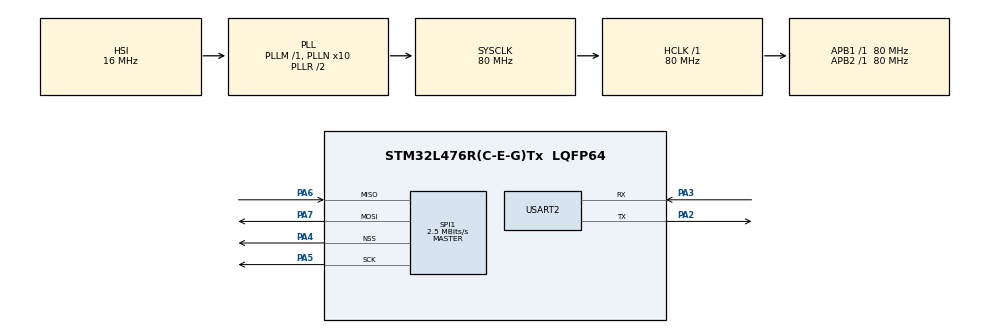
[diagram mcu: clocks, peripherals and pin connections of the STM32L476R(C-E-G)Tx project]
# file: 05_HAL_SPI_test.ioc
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Mcu.Family=STM32L4
Mcu.Name=STM32L476R(C-E-G)Tx
Mcu.Package=LQFP64
NVIC.PriorityGroup=NVIC_PRIORITYGROUP_4
PA13\ (JTMS-SWDIO).GPIO_Label=TMS
PA13\ (JTMS-SWDIO).Mode=Serial_Wire
PA13\ (JTMS-SWDIO).Signal=SYS_JTMS-SWDIO
PA14\ (JTCK-SWCLK).GPIO_Label=TCK
PA14\ (JTCK-SWCLK).Mode=Serial_Wire
PA14\ (JTCK-SWCLK).Signal=SYS_JTCK-SWCLK
PA2.Mode=Asynchronous
PA2.Signal=USART2_TX
PA3.Mode=Asynchronous
PA3.Signal=USART2_RX
PA4.Mode=NSS_Signal_Hard_Output
PA4.Signal=SPI1_NSS
PA5.Mode=Full_Duplex_Master
PA5.Signal=SPI1_SCK
PA6.Mode=Full_Duplex_Master
PA6.Signal=SPI1_MISO
PA7.Mode=Full_Duplex_Master
PA7.Signal=SPI1_MOSI
PB3\ (JTDO-TRACESWO).GPIO_Label=SWO
PB3\ (JTDO-TRACESWO).Signal=SYS_JTDO-SWO
ProjectManager.HeapSize=0x200
ProjectManager.StackSize=0x400
ProjectManager.TargetToolchain=STM32CubeIDE
RCC.ADCFreq_Value=64000000
RCC.AHBFreq_Value=80000000
RCC.APB1Freq_Value=80000000
RCC.APB1TimFreq_Value=80000000
RCC.APB2Freq_Value=80000000
RCC.APB2TimFreq_Value=80000000
RCC.CortexFreq_Value=80000000
RCC.HCLKFreq_Value=80000000
RCC.HSE_VALUE=8000000
RCC.HSI_VALUE=16000000
RCC.LSE_VALUE=32768
RCC.MSI_VALUE=4000000
RCC.PLLN=10
RCC.PLLSourceVirtual=RCC_PLLSOURCE_HSI
RCC.PREFETCH_ENABLE=1
RCC.SYSCLKFreq_VALUE=80000000
RCC.SYSCLKSource=RCC_SYSCLKSOURCE_PLLCLK
RCC.USBFreq_Value=64000000
RCC.VCOOutputFreq_Value=160000000
SPI1.BaudRatePrescaler=SPI_BAUDRATEPRESCALER_32
SPI1.CalculateBaudRate=2.5 MBits/s
SPI1.DataSize=SPI_DATASIZE_8BIT
SPI1.Direction=SPI_DIRECTION_2LINES
SPI1.Mode=SPI_MODE_MASTER
SPI1.VirtualNSS=VM_NSSHARD
SPI1.VirtualType=VM_MASTER
USART2.VirtualMode-Asynchronous=VM_ASYNC
board=NUCLEO-L476RG

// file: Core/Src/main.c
/* USER CODE BEGIN Header */
/**
  ******************************************************************************
  * @file           : main.c
  * @brief          : Main program body
  ******************************************************************************
  * @attention
  *
  * Copyright (c) 2025 STMicroelectronics.
  * All rights reserved.
  *
  * This software is licensed under terms that can be found in the LICENSE file
  * in the root directory of this software component.
  * If no LICENSE file comes with this software, it is provided AS-IS.
  *
  ******************************************************************************
  */
/* USER CODE END Header */
#include "main.h"

/* USER CODE BEGIN Includes */
#define MISO PA6
#define MOSI PA7
#define SCK PA5
#define CS	PA4
/* USER CODE END Includes */

SPI_HandleTypeDef hspi1;

UART_HandleTypeDef huart2;

void SystemClock_Config(void);
static void MX_GPIO_Init(void);
static void MX_USART2_UART_Init(void);
static void MX_SPI1_Init(void);
/* USER CODE BEGIN PFP */
void mymain(void);
/* USER CODE END PFP */

/* USER CODE BEGIN 0 */
void W25Q_WriteByte(uint32_t addr, uint8_t data)
{
    uint8_t cmd[4];

    /* 1) Write enable */
    uint8_t wen = 0x06;
    HAL_SPI_Transmit(&hspi1, &wen, 1, HAL_MAX_DELAY);

    /* 2) Page Program command */
    cmd[0] = 0x02;                      // Page Program
    cmd[1] = (addr >> 16) & 0xFF;       // 24-bit address: A23..A16
    cmd[2] = (addr >> 8) & 0xFF;        // A15..A8
    cmd[3] = addr & 0xFF;               // A7..A0
    HAL_SPI_Transmit(&hspi1, cmd, 4, HAL_MAX_DELAY);  // send command + address
    HAL_SPI_Transmit(&hspi1, &data, 1, HAL_MAX_DELAY); // write 1 byte
}
uint8_t W25Q_ReadByte(uint32_t addr)
{
    uint8_t cmd[4];
    uint8_t data;

    cmd[0] = 0x03;                      // Read Data
    cmd[1] = (addr >> 16) & 0xFF;
    cmd[2] = (addr >> 8) & 0xFF;
    cmd[3] = addr & 0xFF;
    HAL_SPI_Transmit(&hspi1, cmd, 4, HAL_MAX_DELAY);
    HAL_SPI_Receive(&hspi1, &data, 1, HAL_MAX_DELAY);

    return data;
}
extern void initialise_monitor_handles();
/* USER CODE END 0 */

int main(void)
{

  /* USER CODE BEGIN 1 */
	//my_main();
	initialise_monitor_handles();
  /* USER CODE END 1 */

  /* MCU Configuration--------------------------------------------------------*/

  /* Reset of all peripherals, Initializes the Flash interface and the Systick. */
  HAL_Init();

  /* Configure the system clock */
  SystemClock_Config();

  /* Initialize all configured peripherals */
  MX_GPIO_Init();
  MX_USART2_UART_Init();
  MX_SPI1_Init();

  /* Infinite loop */
  while (1)
  {
	  W25Q_WriteByte(0, 12);
	  printf("%d\n",W25Q_ReadByte(0));
	  HAL_Delay(1000);
  }
}

void SystemClock_Config(void)
{
  RCC_OscInitTypeDef RCC_OscInitStruct = {0};
  RCC_ClkInitTypeDef RCC_ClkInitStruct = {0};

  /** Configure the main internal regulator output voltage
  */
  if (HAL_PWREx_ControlVoltageScaling(PWR_REGULATOR_VOLTAGE_SCALE1) != HAL_OK)
  {
    Error_Handler();
  }

  /** Initializes the RCC Oscillators according to the specified parameters
  * in the RCC_OscInitTypeDef structure.
  */
  RCC_OscInitStruct.OscillatorType = RCC_OSCILLATORTYPE_HSI;
  RCC_OscInitStruct.HSIState = RCC_HSI_ON;
  RCC_OscInitStruct.HSICalibrationValue = RCC_HSICALIBRATION_DEFAULT;
  RCC_OscInitStruct.PLL.PLLState = RCC_PLL_ON;
  RCC_OscInitStruct.PLL.PLLSource = RCC_PLLSOURCE_HSI;
  RCC_OscInitStruct.PLL.PLLM = 1;
  RCC_OscInitStruct.PLL.PLLN = 10;
  RCC_OscInitStruct.PLL.PLLP = RCC_PLLP_DIV7;
  RCC_OscInitStruct.PLL.PLLQ = RCC_PLLQ_DIV2;
  RCC_OscInitStruct.PLL.PLLR = RCC_PLLR_DIV2;
  if (HAL_RCC_OscConfig(&RCC_OscInitStruct) != HAL_OK)
  {
    Error_Handler();
  }

  /** Initializes the CPU, AHB and APB buses clocks
  */
  RCC_ClkInitStruct.ClockType = RCC_CLOCKTYPE_HCLK|RCC_CLOCKTYPE_SYSCLK
                              |RCC_CLOCKTYPE_PCLK1|RCC_CLOCKTYPE_PCLK2;
  RCC_ClkInitStruct.SYSCLKSource = RCC_SYSCLKSOURCE_PLLCLK;
  RCC_ClkInitStruct.AHBCLKDivider = RCC_SYSCLK_DIV1;
  RCC_ClkInitStruct.APB1CLKDivider = RCC_HCLK_DIV1;
  RCC_ClkInitStruct.APB2CLKDivider = RCC_HCLK_DIV1;

  if (HAL_RCC_ClockConfig(&RCC_ClkInitStruct, FLASH_LATENCY_4) != HAL_OK)
  {
    Error_Handler();
  }
}

static void MX_SPI1_Init(void)
{

  /* SPI1 parameter configuration*/
  hspi1.Instance = SPI1;
  hspi1.Init.Mode = SPI_MODE_MASTER;
  hspi1.Init.Direction = SPI_DIRECTION_2LINES;
  hspi1.Init.DataSize = SPI_DATASIZE_8BIT;
  hspi1.Init.CLKPolarity = SPI_POLARITY_LOW;
  hspi1.Init.CLKPhase = SPI_PHASE_1EDGE;
  hspi1.Init.NSS = SPI_NSS_HARD_OUTPUT;
  hspi1.Init.BaudRatePrescaler = SPI_BAUDRATEPRESCALER_32;
  hspi1.Init.FirstBit = SPI_FIRSTBIT_MSB;
  hspi1.Init.TIMode = SPI_TIMODE_DISABLE;
  hspi1.Init.CRCCalculation = SPI_CRCCALCULATION_DISABLE;
  hspi1.Init.CRCPolynomial = 7;
  hspi1.Init.CRCLength = SPI_CRC_LENGTH_DATASIZE;
  hspi1.Init.NSSPMode = SPI_NSS_PULSE_ENABLE;
  if (HAL_SPI_Init(&hspi1) != HAL_OK)
  {
    Error_Handler();
  }

}

static void MX_USART2_UART_Init(void)
{

  huart2.Instance = USART2;
  huart2.Init.BaudRate = 115200;
  huart2.Init.WordLength = UART_WORDLENGTH_8B;
  huart2.Init.StopBits = UART_STOPBITS_1;
  huart2.Init.Parity = UART_PARITY_NONE;
  huart2.Init.Mode = UART_MODE_TX_RX;
  huart2.Init.HwFlowCtl = UART_HWCONTROL_NONE;
  huart2.Init.OverSampling = UART_OVERSAMPLING_16;
  huart2.Init.OneBitSampling = UART_ONE_BIT_SAMPLE_DISABLE;
  huart2.AdvancedInit.AdvFeatureInit = UART_ADVFEATURE_NO_INIT;
  if (HAL_UART_Init(&huart2) != HAL_OK)
  {
    Error_Handler();
  }

}

static void MX_GPIO_Init(void)
{

  /* GPIO Ports Clock Enable */
  __HAL_RCC_GPIOA_CLK_ENABLE();
  __HAL_RCC_GPIOB_CLK_ENABLE();

}

void Error_Handler(void)
{
  __disable_irq();
  while (1)
  {
  }
}
